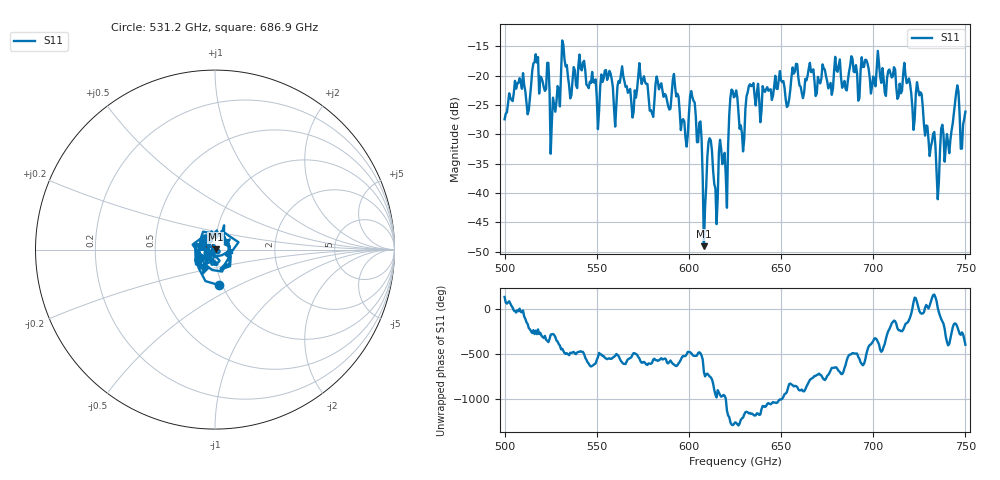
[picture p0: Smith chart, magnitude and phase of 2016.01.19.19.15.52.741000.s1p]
!Created with skrf (http://scikit-rf.org).
# GHz S RI R 50.0
!freq ReS11 ImS11
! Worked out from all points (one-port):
!   401 points, 500 GHz to 750 GHz, reference 50 ohm
!   lowest |S11| = -49.1 dB at 608.1 GHz (marker M1), VSWR 1.01, Z = 50.3 + j0.101 ohm
!   |S11| at or under -10 dB: start of sweep to end of sweep
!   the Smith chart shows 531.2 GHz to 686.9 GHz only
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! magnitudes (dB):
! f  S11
! 500 GHz  -27.4
! 506.9 GHz  -21.3
! 513.1 GHz  -25.9
! 516.9 GHz  -16.4
! 526.2 GHz  -23.8
! 531.2 GHz  -14.0
! 550.6 GHz  -29.1
! 562.5 GHz  -21.2
! 593.8 GHz  -23.1
! 598.1 GHz  -30.6
! 602.5 GHz  -24.3
! 608.1 GHz  -49.1
! 611.2 GHz  -30.7
! 614.4 GHz  -39.2
! 617.5 GHz  -32.5
! 620 GHz  -37.1
! 623.1 GHz  -22.4
! 625 GHz  -23.5
! 628.8 GHz  -29.7
! 633.8 GHz  -21.8
! 653.8 GHz  -25.1
! 656.2 GHz  -18.6
! 687.5 GHz  -18.3
! 718.8 GHz  -21.1
! 725 GHz  -23.4
! 735 GHz  -41.1
! 745 GHz  -22.9
! 750 GHz  -26.1
